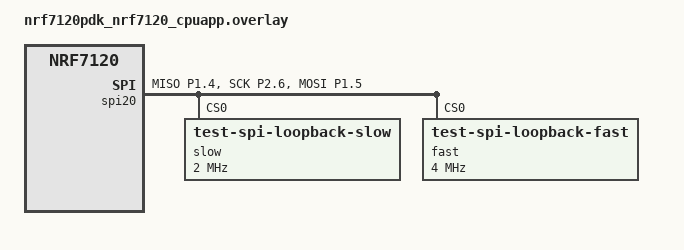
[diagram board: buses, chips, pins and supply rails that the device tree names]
/*
 * Copyright (c) 2025 Nordic Semiconductor ASA
 *
 * SPDX-License-Identifier: LicenseRef-Nordic-5-Clause
 */

/* 
 * Test requires following loopback:
 * P1.4 - P1.5
*/

&pinctrl {
	spi20_default: spi20_default {
		group1 {
			psels = <NRF_PSEL(SPIM_MISO, 1, 4)>;
		};
		group2 {
			psels = <NRF_PSEL(SPIM_SCK, 2, 6)>,
				<NRF_PSEL(SPIM_MOSI, 1, 5)>;
			nordic,drive-mode = <NRF_DRIVE_E0E1>;
		};
	};

	spi20_sleep: spi20_sleep {
		group1 {
			psels = <NRF_PSEL(SPIM_SCK, 2, 6)>,
				<NRF_PSEL(SPIM_MISO, 1, 4)>,
				<NRF_PSEL(SPIM_MOSI, 1, 5)>;
			low-power-enable;
		};
	};
};

&spi20 {
	status = "okay";
	pinctrl-0 = <&spi20_default>;
	pinctrl-1 = <&spi20_sleep>;
	pinctrl-names = "default", "sleep";
	overrun-character = <0x00>;
	zephyr,pm-device-runtime-auto;
	slow@0 {
		compatible = "test-spi-loopback-slow";
		reg = <0>;
		spi-max-frequency = <DT_FREQ_M(2)>;
	};
	fast@0 {
		compatible = "test-spi-loopback-fast";
		reg = <0>;
		spi-max-frequency = <DT_FREQ_M(4)>;
	};
};

&gpio2 {
	status = "okay";
};

// UART20 disabled to avoid pin-conflicts with SPI20 + uses the same peripheral hardware block . 

&uart20 {
	status = "disabled";
};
